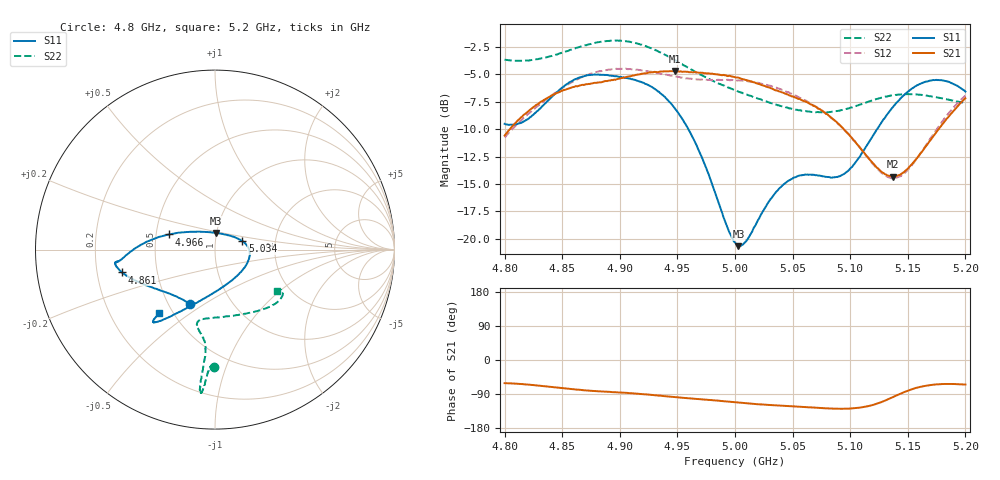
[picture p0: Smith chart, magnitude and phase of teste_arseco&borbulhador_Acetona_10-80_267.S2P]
! Network Analyzer HP8722D
! Hewlett-Packard
! Data name: Linha & Wilkinson
! Saver's name: Rodrigo Anjos
! Comments: Teste da utilização de aquisição
! continua pelo VNA HP8722D
! Time and date: 17/4/2025 16:35
!  Frequency  S11  S21  S12  S22
# HZ  S  MA R 50
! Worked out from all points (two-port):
!   401 points, 4.8 GHz to 5.2 GHz, reference 50 ohm
!   highest |S21| = -4.70 dB at 4.948 GHz (marker M1); lowest = -14.3 dB at 5.137 GHz (marker M2)
!   |S21| within 3 dB of the highest: 4.829 GHz to 5.065 GHz (235.9 MHz wide, 4.77 % of centre); 5.194888 GHz to end of sweep
!   lowest |S11| = -20.7 dB at 5.003 GHz (marker M3), VSWR 1.20, Z = 49.8 + j9.26 ohm
!   |S11| at or under -10 dB: 4.959 GHz to 5.123 GHz (163.8 MHz wide, 3.25 % of centre)
!   |S22| runs from -8.5 to -1.9 dB; largest |S21 - S12| = 0.87
!   S11 on the Smith chart (normalised r, x): 4.8 GHz: 0.64, -0.44; 4.861 GHz: 0.31, -0.11; 4.966 GHz: 0.58, +0.11; 5.034 GHz: 1.35, +0.13; 5.2 GHz: 0.42, -0.38
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4.8e9  0.3346 -114.3  0.2956 -61.1  0.2901 -175.3  0.6567 -90.3
4.819e9  0.349 -134.3  0.376 -64.6  0.3647 -174.1  0.6515 -91.9
4.861e9  0.5339 -166.2  0.495 -77.5  0.5269 -177.4  0.7386 -94.2
4.867e9  0.5482 -168.6  0.5035 -79.4  0.5461 -178.6  0.7559 -94.3
4.899e9  0.5488 -173.0  0.5367 -85.7  0.596 174.9  0.8014 -95.7
4.934e9  0.4687 -178.8  0.5777 -94.1  0.5717 171.3  0.7123 -96.1
4.948e9  0.3926 174.4  0.5824 -98.0  0.5508 171.6  0.6533 -95.7
4.966e9  0.2711 161.9  0.5751 -102.6  0.5349 173.4  0.5749 -95.3
5e9  0.09606 97.3  0.5468 -111.6  0.5299 175.8  0.4761 -99.3
5.003e9  0.09242 86.1  0.5438 -112.6  0.5282 175.8  0.4688 -100.1
5.011e9  0.09951 58.7  0.527 -114.6  0.5231 175.5  0.4534 -101.7
5.034e9  0.1593 17.3  0.4792 -119.5  0.4918 174.4  0.4115 -103.4
5.049e9  0.1873 2.4  0.4469 -122.1  0.4591 173.6  0.3923 -99.6
5.067e9  0.1959 -16.9  0.4086 -125.2  0.4108 173.2  0.3785 -90.1
5.085e9  0.1904 -45.2  0.3522 -128.3  0.3513 173.4  0.381 -76.4
5.097e9  0.2016 -69.3  0.3057 -128.4  0.3066 174.8  0.3917 -66.7
5.123e9  0.3147 -109.1  0.2113 -115.4  0.2101 -170.0  0.4345 -48.5
5.134e9  0.3805 -117.8  0.1937 -102.1  0.1899 -155.0  0.4488 -43.0
5.137e9  0.3983 -119.5  0.192 -98.1  0.1887 -150.3  0.4517 -41.8
5.15e9  0.4682 -125.3  0.2087 -81.0  0.2064 -130.7  0.457 -36.9
5.17e9  0.5277 -129.8  0.2829 -66.0  0.2889 -112.1  0.4472 -32.2
5.2e9  0.4697 -131.3  0.4376 -64.9  0.4498 -107.0  0.4155 -33.8
